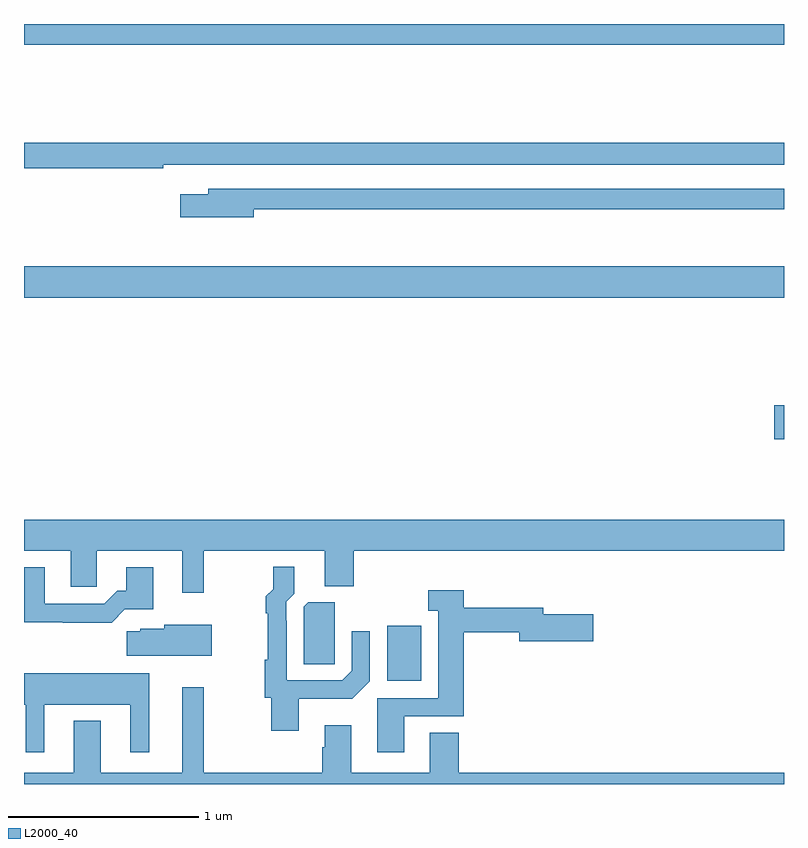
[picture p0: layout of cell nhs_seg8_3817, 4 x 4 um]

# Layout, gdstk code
import gdstk
lib = gdstk.Library(unit=1e-6, precision=1e-09)
def R(c, l, rs):  # rectangles x0, y0, x1, y1
    for r in rs: c.add(gdstk.rectangle(r[:2], r[2:], *l))
def P(c, l, *ps):  # polygons
    for p in ps: c.add(gdstk.Polygon(p, *l))
L2000_40 = (2000, 40)

nhs_seg8_3817 = lib.new_cell('nhs_seg8_3817')
R(nhs_seg8_3817, L2000_40, [(346.913,1154.444,347.092,1154.734), (348.948,1155.715,349,1155.893), (345,1156.46,349,1156.624), (345,1157.792,349,1157.9)])
P(nhs_seg8_3817, L2000_40, [(345.734,1157.16),(349,1157.16),(349,1157.276),(345,1157.276),(345,1157.14),(345.734,1157.14)],
  [(346.21,1156.926),(349,1156.926),(349,1157.034),(345.971,1157.034),(345.971,1157.005),(345.822,1157.005),(345.822,1156.883),(346.21,1156.883)],
  [(345.947,1155.128),(346.583,1155.128),(346.583,1154.941),(346.736,1154.941),(346.736,1155.128),(349,1155.128),(349,1155.292),(345,1155.292),(345,1155.128),(345.245,1155.128),(345.245,1154.938),(345.384,1154.938),(345.384,1155.128),(345.833,1155.128),(345.833,1154.907),(345.947,1154.907)],
  [(346.447,1154.348),(346.727,1154.348),(346.821,1154.442),(346.821,1154.704),(346.725,1154.704),(346.725,1154.496),(346.674,1154.445),(346.383,1154.445),(346.383,1154.759),(346.38,1154.759),(346.38,1154.859),(346.423,1154.902),(346.423,1155.043),(346.311,1155.043),(346.311,1154.926),(346.272,1154.888),(346.272,1154.798),(346.282,1154.798),(346.282,1154.555),(346.267,1154.555),(346.267,1154.355),(346.3,1154.355),(346.3,1154.181),(346.447,1154.181)],
  [(345.531,1154.82),(345.679,1154.82),(345.679,1155.04),(345.539,1155.04),(345.539,1154.917),(345.49,1154.917),(345.423,1154.85),(345.109,1154.85),(345.109,1155.04),(345,1155.04),(345,1154.752),(345.205,1154.752),(345.205,1154.75),(345.461,1154.75)],
  [(347.002,1154.256),(347.315,1154.256),(347.315,1154.698),(347.606,1154.698),(347.606,1154.651),(347.995,1154.651),(347.995,1154.793),(347.734,1154.793),(347.734,1154.827),(347.315,1154.827),(347.315,1154.921),(347.127,1154.921),(347.127,1154.811),(347.18,1154.811),(347.18,1154.352),(346.859,1154.352),(346.859,1154.067),(347.002,1154.067)],
  [(346.635,1154.641),(346.636,1154.641),(346.636,1154.856),(346.497,1154.856),(346.473,1154.832),(346.473,1154.53),(346.635,1154.53)],
  [(345.988,1154.737),(345.738,1154.737),(345.738,1154.716),(345.612,1154.716),(345.612,1154.705),(345.54,1154.705),(345.54,1154.576),(345.988,1154.576)],
  [(345.106,1154.318),(345.56,1154.318),(345.56,1154.067),(345.658,1154.067),(345.658,1154.482),(345,1154.482),(345,1154.318),(345.008,1154.318),(345.008,1154.067),(345.106,1154.067)],
  [(349,1153.96),(347.288,1153.96),(347.288,1154.171),(347.135,1154.171),(347.135,1153.96),(346.723,1153.96),(346.723,1154.209),(346.583,1154.209),(346.583,1154.093),(346.571,1154.093),(346.571,1153.96),(345.947,1153.96),(345.947,1154.41),(345.833,1154.41),(345.833,1153.96),(345.403,1153.96),(345.403,1154.233),(345.263,1154.233),(345.263,1153.96),(345,1153.96),(345,1153.9),(349,1153.9)])

lib.write_gds('nhs_seg8_3817.gds')
